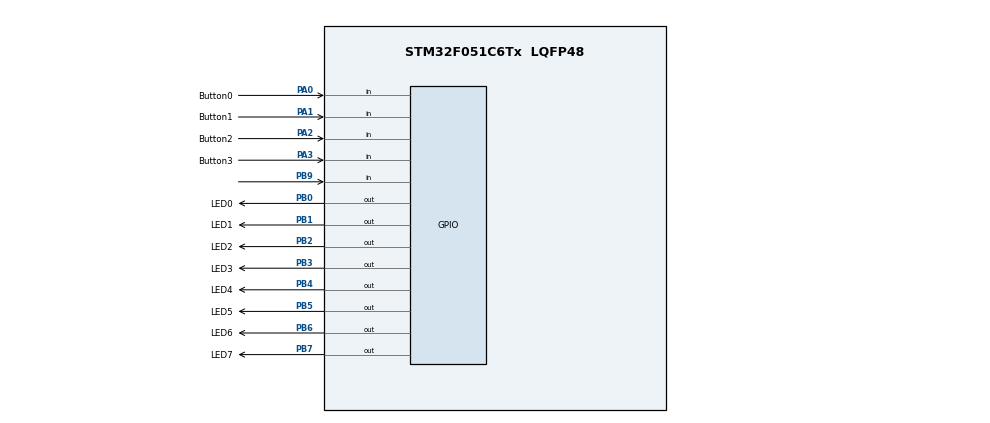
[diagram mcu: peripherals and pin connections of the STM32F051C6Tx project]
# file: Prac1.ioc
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Mcu.Family=STM32F0
Mcu.Name=STM32F051C6Tx
Mcu.Package=LQFP48
PA0.GPIO_Label=Button0
PA0.GPIO_PuPd=GPIO_PULLUP
PA0.Signal=GPIO_Input
PA1.GPIO_Label=Button1
PA1.GPIO_PuPd=GPIO_PULLUP
PA1.Signal=GPIO_Input
PA13.Mode=Serial_Wire
PA13.Signal=SYS_SWDIO
PA14.Mode=Serial_Wire
PA14.Signal=SYS_SWCLK
PA2.GPIO_Label=Button2
PA2.GPIO_PuPd=GPIO_PULLUP
PA2.Signal=GPIO_Input
PA3.GPIO_Label=Button3
PA3.GPIO_PuPd=GPIO_PULLUP
PA3.Signal=GPIO_Input
PB0.GPIO_Label=LED0
PB0.Signal=GPIO_Output
PB1.GPIO_Label=LED1
PB1.Signal=GPIO_Output
PB2.GPIO_Label=LED2
PB2.Signal=GPIO_Output
PB3.GPIO_Label=LED3
PB3.Signal=GPIO_Output
PB4.GPIO_Label=LED4
PB4.Signal=GPIO_Output
PB5.GPIO_Label=LED5
PB5.Signal=GPIO_Output
PB6.GPIO_Label=LED6
PB6.Signal=GPIO_Output
PB7.GPIO_Label=LED7
PB7.Signal=GPIO_Output
PB9.Signal=GPIO_Input
PF0-OSC_IN.Mode=HSE-External-Oscillator
PF0-OSC_IN.Signal=RCC_OSC_IN
PF1-OSC_OUT.Mode=HSE-External-Oscillator
PF1-OSC_OUT.Signal=RCC_OSC_OUT
ProjectManager.HeapSize=0x200
ProjectManager.StackSize=0x400
ProjectManager.TargetToolchain=STM32CubeIDE
TIM16.AutoReloadPreload=TIM_AUTORELOAD_PRELOAD_ENABLE
TIM16.Period=1000-1
TIM16.Prescaler=8000-1
VP_TIM16_VS_ClockSourceINT.Mode=Enable_Timer
board=custom

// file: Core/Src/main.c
/* USER CODE BEGIN Header */
/**
  ******************************************************************************
  * @file           : main.c
  * @brief          : Main program body
  ******************************************************************************
  * @attention
  *
  * Copyright (c) 2023 STMicroelectronics.
  * All rights reserved.
  *
  * This software is licensed under terms that can be found in the LICENSE file
  * in the root directory of this software component.
  * If no LICENSE file comes with this software, it is provided AS-IS.
  *
  ******************************************************************************
  */
/* USER CODE END Header */
#include "main.h"

/* USER CODE BEGIN Includes */
#include <stdint.h>
#include "stm32f0xx.h"
#include <lcd_stm32f0.c>
/* USER CODE END Includes */

TIM_HandleTypeDef htim16;

/* Defines a 2D array LED_PATTERNS that contains all the LED patterns */
const uint8_t LED_PATTERNS[9][8] = {
    {1, 1, 1, 0, 1, 0, 0, 1},
    {1, 1, 0, 1, 0, 0, 1, 0},
    {1, 0, 1, 0, 0, 1, 0, 0},
    {0, 1, 0, 0, 1, 0, 0, 0},
    {1, 0, 0, 1, 0, 0, 0, 0},
    {0, 0, 1, 0, 0, 0, 0, 0},
    {0, 1, 0, 0, 0, 0, 0, 0},
    {1, 0, 0, 0, 0, 0, 0, 0},
    {0, 0, 0, 0, 0, 0, 0, 0}
};

/* Keeps track of the current pattern */
uint8_t current_pattern = 0;

/* Keep track of the current delay */
uint32_t current_delay = 1000;

/* USER CODE BEGIN PV */
// TODO: Define input variables

/* USER CODE END PV */

void SystemClock_Config(void);
static void MX_GPIO_Init(void);
static void MX_TIM16_Init(void);
/* USER CODE BEGIN PFP */
void TIM16_IRQHandler(void);
/* USER CODE END PFP */

int main(void)
{

  /* MCU Configuration--------------------------------------------------------*/

  /* Reset of all peripherals, Initializes the Flash interface and the Systick. */
  HAL_Init();

  /* Configure the system clock */
  SystemClock_Config();

  /* Initialize all configured peripherals */
  MX_GPIO_Init();
  MX_TIM16_Init();
  /* USER CODE BEGIN 2 */

  // Start timer TIM16
  HAL_TIM_Base_Start_IT(&htim16);

  /* USER CODE END 2 */
  init_LCD();
  lcd_command(CLEAR);
  lcd_putstring("EEE3095S Lab 1");

  /* Infinite loop */
  while (1)
  {

    /* USER CODE BEGIN 3 */

    // TODO: Check pushbuttons to change timer delay

	// Check Pushbutton 0 (PA0) for 0.5s delay
	if (HAL_GPIO_ReadPin(Button0_GPIO_Port, Button0_Pin) == GPIO_PIN_RESET)
    	{
	    	current_delay = 500;
	        __HAL_TIM_SET_AUTORELOAD(&htim16, current_delay - 1);
	    }

	// Check Pushbutton 1 (PA1) for 2s delay
	if (HAL_GPIO_ReadPin(Button1_GPIO_Port, Button1_Pin) == GPIO_PIN_RESET)
	    {
	        current_delay = 2000;
	        __HAL_TIM_SET_AUTORELOAD(&htim16, current_delay - 1);
	    }

	// Check Pushbutton 2 (PA2) for 1s delay
	if (HAL_GPIO_ReadPin(Button2_GPIO_Port, Button2_Pin) == GPIO_PIN_RESET)
	    {
	        current_delay = 1000;
	        __HAL_TIM_SET_AUTORELOAD(&htim16, current_delay - 1);
	    }

	// Check Pushbutton 3 (PA3) to reset sequence
	if (HAL_GPIO_ReadPin(Button3_GPIO_Port, Button3_Pin) == GPIO_PIN_RESET)
	    {
	        current_pattern = 0;
	    }
  }
  /* USER CODE END 3 */
}

void SystemClock_Config(void)
{
  LL_FLASH_SetLatency(LL_FLASH_LATENCY_0);
  while(LL_FLASH_GetLatency() != LL_FLASH_LATENCY_0)
  {
  }
  LL_RCC_HSI_Enable();

   /* Wait till HSI is ready */
  while(LL_RCC_HSI_IsReady() != 1)
  {

  }
  LL_RCC_HSI_SetCalibTrimming(16);
  LL_RCC_SetAHBPrescaler(LL_RCC_SYSCLK_DIV_1);
  LL_RCC_SetAPB1Prescaler(LL_RCC_APB1_DIV_1);
  LL_RCC_SetSysClkSource(LL_RCC_SYS_CLKSOURCE_HSI);

   /* Wait till System clock is ready */
  while(LL_RCC_GetSysClkSource() != LL_RCC_SYS_CLKSOURCE_STATUS_HSI)
  {

  }
  LL_SetSystemCoreClock(8000000);

   /* Update the time base */
  if (HAL_InitTick (TICK_INT_PRIORITY) != HAL_OK)
  {
    Error_Handler();
  }
}

static void MX_TIM16_Init(void)
{

  htim16.Instance = TIM16;
  htim16.Init.Prescaler = 8000-1;
  htim16.Init.CounterMode = TIM_COUNTERMODE_UP;
  htim16.Init.Period = 1000-1;
  htim16.Init.ClockDivision = TIM_CLOCKDIVISION_DIV1;
  htim16.Init.RepetitionCounter = 0;
  htim16.Init.AutoReloadPreload = TIM_AUTORELOAD_PRELOAD_ENABLE;
  if (HAL_TIM_Base_Init(&htim16) != HAL_OK)
  {
    Error_Handler();
  }
  /* USER CODE BEGIN TIM16_Init 2 */
  NVIC_EnableIRQ(TIM16_IRQn);
  /* USER CODE END TIM16_Init 2 */

}

static void MX_GPIO_Init(void)
{
  LL_GPIO_InitTypeDef GPIO_InitStruct = {0};

  /* GPIO Ports Clock Enable */
  LL_AHB1_GRP1_EnableClock(LL_AHB1_GRP1_PERIPH_GPIOF);
  LL_AHB1_GRP1_EnableClock(LL_AHB1_GRP1_PERIPH_GPIOA);
  LL_AHB1_GRP1_EnableClock(LL_AHB1_GRP1_PERIPH_GPIOB);

  /**/
  LL_GPIO_ResetOutputPin(LED0_GPIO_Port, LED0_Pin);

  /**/
  LL_GPIO_ResetOutputPin(LED1_GPIO_Port, LED1_Pin);

  /**/
  LL_GPIO_ResetOutputPin(LED2_GPIO_Port, LED2_Pin);

  /**/
  LL_GPIO_ResetOutputPin(LED3_GPIO_Port, LED3_Pin);

  /**/
  LL_GPIO_ResetOutputPin(LED4_GPIO_Port, LED4_Pin);

  /**/
  LL_GPIO_ResetOutputPin(LED5_GPIO_Port, LED5_Pin);

  /**/
  LL_GPIO_ResetOutputPin(LED6_GPIO_Port, LED6_Pin);

  /**/
  LL_GPIO_ResetOutputPin(LED7_GPIO_Port, LED7_Pin);

  /**/
  GPIO_InitStruct.Pin = Button0_Pin;
  GPIO_InitStruct.Mode = LL_GPIO_MODE_INPUT;
  GPIO_InitStruct.Pull = LL_GPIO_PULL_UP;
  LL_GPIO_Init(Button0_GPIO_Port, &GPIO_InitStruct);

  /**/
  GPIO_InitStruct.Pin = Button1_Pin;
  GPIO_InitStruct.Mode = LL_GPIO_MODE_INPUT;
  GPIO_InitStruct.Pull = LL_GPIO_PULL_UP;
  LL_GPIO_Init(Button1_GPIO_Port, &GPIO_InitStruct);

  /**/
  GPIO_InitStruct.Pin = Button2_Pin;
  GPIO_InitStruct.Mode = LL_GPIO_MODE_INPUT;
  GPIO_InitStruct.Pull = LL_GPIO_PULL_UP;
  LL_GPIO_Init(Button2_GPIO_Port, &GPIO_InitStruct);

  /**/
  GPIO_InitStruct.Pin = Button3_Pin;
  GPIO_InitStruct.Mode = LL_GPIO_MODE_INPUT;
  GPIO_InitStruct.Pull = LL_GPIO_PULL_UP;
  LL_GPIO_Init(Button3_GPIO_Port, &GPIO_InitStruct);

  /**/
  GPIO_InitStruct.Pin = LED0_Pin;
  GPIO_InitStruct.Mode = LL_GPIO_MODE_OUTPUT;
  GPIO_InitStruct.Speed = LL_GPIO_SPEED_FREQ_LOW;
  GPIO_InitStruct.OutputType = LL_GPIO_OUTPUT_PUSHPULL;
  GPIO_InitStruct.Pull = LL_GPIO_PULL_NO;
  LL_GPIO_Init(LED0_GPIO_Port, &GPIO_InitStruct);

  /**/
  GPIO_InitStruct.Pin = LED1_Pin;
  GPIO_InitStruct.Mode = LL_GPIO_MODE_OUTPUT;
  GPIO_InitStruct.Speed = LL_GPIO_SPEED_FREQ_LOW;
  GPIO_InitStruct.OutputType = LL_GPIO_OUTPUT_PUSHPULL;
  GPIO_InitStruct.Pull = LL_GPIO_PULL_NO;
  LL_GPIO_Init(LED1_GPIO_Port, &GPIO_InitStruct);

  /**/
  GPIO_InitStruct.Pin = LED2_Pin;
  GPIO_InitStruct.Mode = LL_GPIO_MODE_OUTPUT;
  GPIO_InitStruct.Speed = LL_GPIO_SPEED_FREQ_LOW;
  GPIO_InitStruct.OutputType = LL_GPIO_OUTPUT_PUSHPULL;
  GPIO_InitStruct.Pull = LL_GPIO_PULL_NO;
  LL_GPIO_Init(LED2_GPIO_Port, &GPIO_InitStruct);

  /**/
  GPIO_InitStruct.Pin = LED3_Pin;
  GPIO_InitStruct.Mode = LL_GPIO_MODE_OUTPUT;
  GPIO_InitStruct.Speed = LL_GPIO_SPEED_FREQ_LOW;
  GPIO_InitStruct.OutputType = LL_GPIO_OUTPUT_PUSHPULL;
  GPIO_InitStruct.Pull = LL_GPIO_PULL_NO;
  LL_GPIO_Init(LED3_GPIO_Port, &GPIO_InitStruct);

  /**/
  GPIO_InitStruct.Pin = LED4_Pin;
  GPIO_InitStruct.Mode = LL_GPIO_MODE_OUTPUT;
  GPIO_InitStruct.Speed = LL_GPIO_SPEED_FREQ_LOW;
  GPIO_InitStruct.OutputType = LL_GPIO_OUTPUT_PUSHPULL;
  GPIO_InitStruct.Pull = LL_GPIO_PULL_NO;
  LL_GPIO_Init(LED4_GPIO_Port, &GPIO_InitStruct);

  /**/
  GPIO_InitStruct.Pin = LED5_Pin;
  GPIO_InitStruct.Mode = LL_GPIO_MODE_OUTPUT;
  GPIO_InitStruct.Speed = LL_GPIO_SPEED_FREQ_LOW;
  GPIO_InitStruct.OutputType = LL_GPIO_OUTPUT_PUSHPULL;
  GPIO_InitStruct.Pull = LL_GPIO_PULL_NO;
  LL_GPIO_Init(LED5_GPIO_Port, &GPIO_InitStruct);

  /**/
  GPIO_InitStruct.Pin = LED6_Pin;
  GPIO_InitStruct.Mode = LL_GPIO_MODE_OUTPUT;
  GPIO_InitStruct.Speed = LL_GPIO_SPEED_FREQ_LOW;
  GPIO_InitStruct.OutputType = LL_GPIO_OUTPUT_PUSHPULL;
  GPIO_InitStruct.Pull = LL_GPIO_PULL_NO;
  LL_GPIO_Init(LED6_GPIO_Port, &GPIO_InitStruct);

  /**/
  GPIO_InitStruct.Pin = LED7_Pin;
  GPIO_InitStruct.Mode = LL_GPIO_MODE_OUTPUT;
  GPIO_InitStruct.Speed = LL_GPIO_SPEED_FREQ_LOW;
  GPIO_InitStruct.OutputType = LL_GPIO_OUTPUT_PUSHPULL;
  GPIO_InitStruct.Pull = LL_GPIO_PULL_NO;
  LL_GPIO_Init(LED7_GPIO_Port, &GPIO_InitStruct);

  /**/
  GPIO_InitStruct.Pin = LL_GPIO_PIN_9;
  GPIO_InitStruct.Mode = LL_GPIO_MODE_INPUT;
  GPIO_InitStruct.Pull = LL_GPIO_PULL_NO;
  LL_GPIO_Init(GPIOB, &GPIO_InitStruct);

}

/* USER CODE BEGIN 4 */

// Timer rolled over
void TIM16_IRQHandler(void)
{
	// Acknowledge interrupt
	HAL_TIM_IRQHandler(&htim16);

	// Change LED pattern
	HAL_GPIO_WritePin(LED0_GPIO_Port, LED0_Pin, LED_PATTERNS[current_pattern][0]);
	HAL_GPIO_WritePin(LED1_GPIO_Port, LED1_Pin, LED_PATTERNS[current_pattern][1]);
	HAL_GPIO_WritePin(LED2_GPIO_Port, LED2_Pin, LED_PATTERNS[current_pattern][2]);
	HAL_GPIO_WritePin(LED3_GPIO_Port, LED3_Pin, LED_PATTERNS[current_pattern][3]);
	HAL_GPIO_WritePin(LED4_GPIO_Port, LED4_Pin, LED_PATTERNS[current_pattern][4]);
	HAL_GPIO_WritePin(LED5_GPIO_Port, LED5_Pin, LED_PATTERNS[current_pattern][5]);
	HAL_GPIO_WritePin(LED6_GPIO_Port, LED6_Pin, LED_PATTERNS[current_pattern][6]);
	HAL_GPIO_WritePin(LED7_GPIO_Port, LED7_Pin, LED_PATTERNS[current_pattern][7]);

	// Move to next pattern
	current_pattern = (current_pattern + 1) % 9;

	// Update timer period
	__HAL_TIM_SET_AUTORELOAD(&htim16, current_delay - 1);

}

/* USER CODE END 4 */

void Error_Handler(void)
{
  __disable_irq();
  while (1)
  {
  }
}
